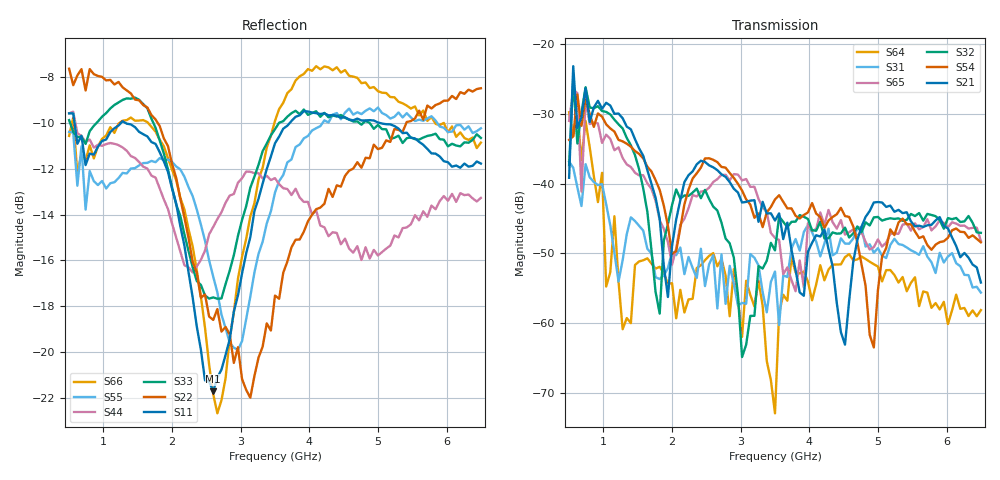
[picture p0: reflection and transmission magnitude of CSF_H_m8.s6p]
!Keysight Technologies,M9804A,MY58100912,A.14.10.03
!Date: Thursday, April 27, 2023 10:28:33
!Correction: S11(C  6-Port  )
!S12(C  6-Port  )
!S13(C  6-Port  )
!S14(C  6-Port  )
!S15(C  6-Port  )
!S16(C  6-Port  )
!S21(C  6-Port  )
!S22(C  6-Port  )
!S23(C  6-Port  )
!S24(C  6-Port  )
!S25(C  6-Port  )
!S26(C  6-Port  )
!S31(C  6-Port  )
!S32(C  6-Port  )
!S33(C  6-Port  )
!S34(C  6-Port  )
!S35(C  6-Port  )
!S36(C  6-Port  )
!S41(C  6-Port  )
!S42(C  6-Port  )
!S43(C  6-Port  )
!S44(C  6-Port  )
!S45(C  6-Port  )
!S46(C  6-Port  )
!S51(C  6-Port  )
!S52(C  6-Port  )
!S53(C  6-Port  )
!S54(C  6-Port  )
!S55(C  6-Port  )
!S56(C  6-Port  )
!S61(C  6-Port  )
!S62(C  6-Port  )
!S63(C  6-Port  )
!S64(C  6-Port  )
!S65(C  6-Port  )
!S66(C  6-Port  )
!S6P File: Measurement: :
# Hz S  RI  R 50
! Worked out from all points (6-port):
!   101 points, 500 MHz to 6.5 GHz, reference 50 ohm
!   strongest paths, dB at 500 MHz, 2 GHz, 3.5 GHz, 5 GHz, 6.5 GHz:
!     S21: -39.1, -48.9, -45.3, -42.6, -54.2
!     S54: -33.7, -50.1, -42.3, -55.3, -48.4
!     S32: -37.3, -43.0, -49.6, -44.8, -47.0
!     S65: -31.0, -51.6, -47.8, -48.0, -48.2
!     S31: -36.8, -49.7, -52.6, -49.2, -55.6
!     S64: -29.7, -54.3, -72.9, -51.9, -58.1
!   lowest |S11| = -21.7 dB at 2.6 GHz (marker M1), VSWR 1.18, Z = 42.7 + j2.03 ohm
!   |S11| at or under -10 dB: 578.5 MHz to 1.257 GHz (678.9 MHz wide, 74 % of centre); 1.32 GHz to 3.717 GHz (2.397 GHz wide, 95.2 % of centre); 5.021 GHz to end of sweep
